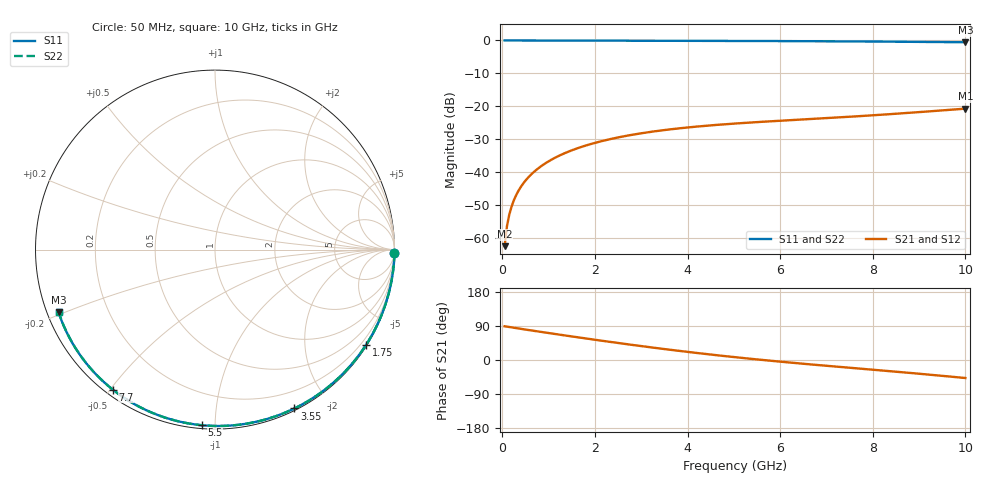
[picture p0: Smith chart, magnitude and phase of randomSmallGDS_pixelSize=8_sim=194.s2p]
! freq	dB(S11)	phase(S11)	dB(S12)	phase(S12)
!  dB(S21)	phase(S21)	dB(S22)	phase(S22)
!S-par simulation data
#  GHz  S  DB  R 50
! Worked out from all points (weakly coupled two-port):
!   200 points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, 50 MHz to 10 GHz, reference 50 ohm
!   highest |S21| = -20.73 dB at 10 GHz (marker M1); lowest = -62.5 dB at 50 MHz (marker M2)
!   lowest |S11| = -0.5 dB at 10 GHz (marker M3), VSWR 31.67, Z = 1.64 - j9.6 ohm
!   |S11| at or under -10 dB: nowhere
!   |S22| runs from -0.5 to 0.0 dB; largest |S21 - S12| = 0
!   S11 on the Smith chart (normalised r, x): 50 MHz: open; 1.75 GHz: 0.03, -3.46; 3.55 GHz: 0.02, -1.62; 5.5 GHz: 0.02, -0.93; 7.7 GHz: 0.02, -0.51; 10 GHz: 0.03, -0.19
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0.05  -0.00 -0.9  -62.53 89.0  -62.53 89.0  -0.00 -0.9
0.1  -0.00 -1.9  -56.52 88.0  -56.52 88.0  -0.00 -1.9
0.15  -0.00 -2.8  -53.00 87.0  -53.00 87.0  -0.00 -2.8
0.2  -0.00 -3.8  -50.51 86.1  -50.51 86.1  -0.00 -3.8
0.25  -0.00 -4.7  -48.58 85.1  -48.58 85.1  -0.00 -4.7
0.35  -0.01 -6.6  -45.68 83.2  -45.68 83.2  -0.01 -6.6
0.5  -0.01 -9.4  -42.61 80.3  -42.61 80.3  -0.01 -9.4
0.7  -0.02 -13.1  -39.75 76.6  -39.75 76.6  -0.02 -13.1
1  -0.02 -18.6  -36.74 71.1  -36.74 71.1  -0.02 -18.6
1.35  -0.03 -25.0  -34.26 64.8  -34.26 64.8  -0.03 -25.0
1.75  -0.04 -32.2  -32.17 57.8  -32.17 57.8  -0.04 -32.2
2.5  -0.06 -45.5  -29.48 44.9  -29.48 44.9  -0.06 -45.5
3.4  -0.09 -60.9  -27.41 30.4  -27.41 30.4  -0.09 -60.9
3.55  -0.09 -63.4  -27.15 28.1  -27.15 28.1  -0.09 -63.4
4.3  -0.12 -75.6  -26.06 17.2  -26.06 17.2  -0.12 -75.6
5.05  -0.14 -87.4  -25.23 7.1  -25.23 7.1  -0.14 -87.4
5.5  -0.16 -94.3  -24.82 1.5  -24.82 1.5  -0.16 -94.3
6.7  -0.23 -111.9  -23.85 -12.1  -23.85 -12.1  -0.23 -111.9
7.7  -0.30 -126.1  -23.02 -22.5  -23.02 -22.5  -0.30 -126.1
8.35  -0.36 -135.2  -22.43 -29.2  -22.43 -29.2  -0.36 -135.1
9.2  -0.45 -147.0  -21.58 -38.4  -21.58 -38.4  -0.45 -146.9
10  -0.55 -158.2  -20.73 -47.6  -20.73 -47.6  -0.55 -158.2
